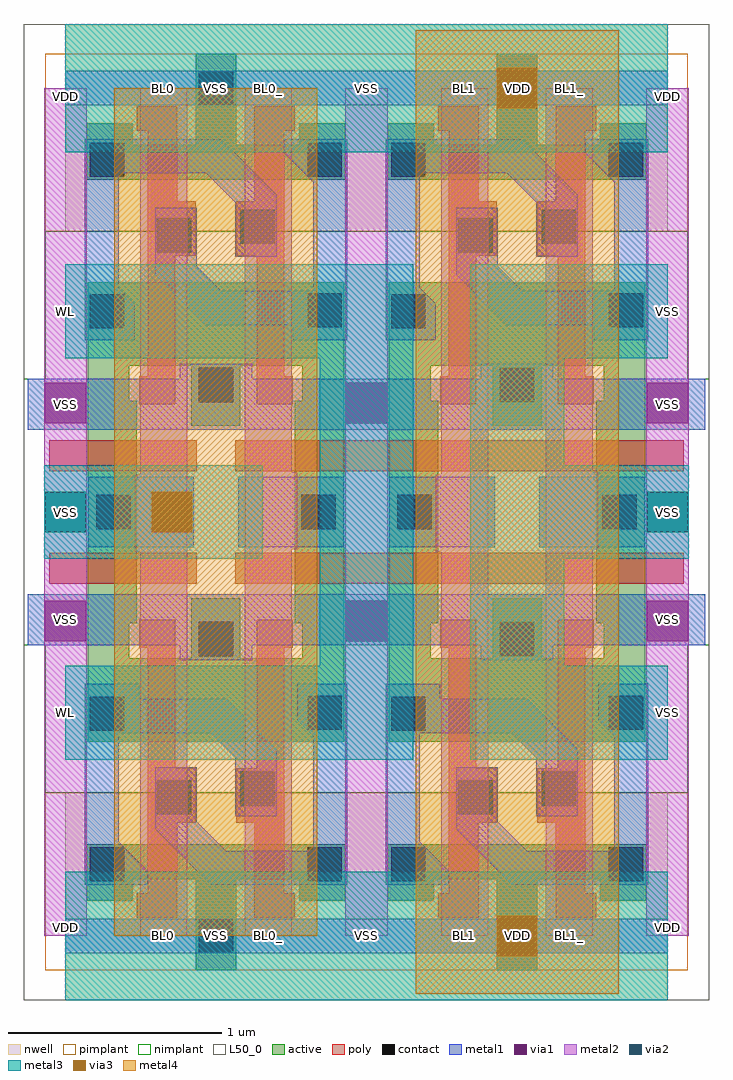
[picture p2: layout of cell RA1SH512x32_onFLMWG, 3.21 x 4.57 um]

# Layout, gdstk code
import gdstk
lib = gdstk.Library(unit=1e-6, precision=1e-09)
def R(c, l, rs):  # rectangles x0, y0, x1, y1
    for r in rs: c.add(gdstk.rectangle(r[:2], r[2:], *l))
def A(c, l, x, y, w, h, nx, ny, dx, dy):  # array of equal rectangles
    R(c, l, [(x+i*dx, y+j*dy, x+i*dx+w, y+j*dy+h) for i in range(nx) for j in range(ny)])
def P(c, l, *ps):  # polygons
    for p in ps: c.add(gdstk.Polygon(p, *l))
nwell = (3, 0)
active = (6, 0)
poly = (17, 0)
pimplant = (25, 0)
nimplant = (26, 0)
contact = (30, 0)
metal1 = (31, 0)
metal2 = (32, 0)
metal3 = (33, 0)
metal4 = (34, 0)
L50_0 = (50, 0)
via1 = (51, 0)
via2 = (52, 0)
via3 = (53, 0)

ra1sh512x32_onflmwg = lib.new_cell('RA1SH512x32_onFLMWG')
R(ra1sh512x32_onflmwg, nwell, [(0,-0.3,2.82,0.67), (0,3.3,2.82,4.27)])
P(ra1sh512x32_onflmwg, active, [(2.02,4.13),(2.02,3.705),(1.725,3.705),(1.725,3.805),(1.51,3.805),(1.51,3.54),(2.72,3.54),(2.72,3.805),(2.505,3.805),(2.505,3.705),(2.21,3.705),(2.21,4.13)],
  [(0.61,4.13),(0.61,3.705),(0.315,3.705),(0.315,3.805),(0.1,3.805),(0.1,3.54),(1.31,3.54),(1.31,3.805),(1.095,3.805),(1.095,3.705),(0.8,3.705),(0.8,4.13)],
  [(1.515,3.06),(1.515,1.985),(1.745,1.985),(1.745,2.505),(1.71,2.505),(1.71,2.67),(2,2.67),(2,2.39),(2.23,2.39),(2.23,2.67),(2.52,2.67),(2.52,2.505),(2.485,2.505),(2.485,1.985),(2.715,1.985),(2.715,3.06)],
  [(2.485,1.985),(2.485,1.465),(2.52,1.465),(2.52,1.3),(2.23,1.3),(2.23,1.58),(2,1.58),(2,1.3),(1.71,1.3),(1.71,1.465),(1.745,1.465),(1.745,1.985),(1.515,1.985),(1.515,0.91),(2.715,0.91),(2.715,1.985)],
  [(0.105,3.06),(0.105,1.985),(0.335,1.985),(0.335,2.505),(0.3,2.505),(0.3,2.67),(0.59,2.67),(0.59,2.39),(0.82,2.39),(0.82,2.67),(1.11,2.67),(1.11,2.505),(1.075,2.505),(1.075,1.985),(1.305,1.985),(1.305,3.06)],
  [(1.075,1.985),(1.075,1.465),(1.11,1.465),(1.11,1.3),(0.82,1.3),(0.82,1.58),(0.59,1.58),(0.59,1.3),(0.3,1.3),(0.3,1.465),(0.335,1.465),(0.335,1.985),(0.105,1.985),(0.105,0.91),(1.305,0.91),(1.305,1.985)],
  [(1.51,0.43),(1.51,0.165),(1.725,0.165),(1.725,0.265),(2.02,0.265),(2.02,-0.16),(2.21,-0.16),(2.21,0.265),(2.505,0.265),(2.505,0.165),(2.72,0.165),(2.72,0.43)],
  [(0.1,0.43),(0.1,0.165),(0.315,0.165),(0.315,0.265),(0.61,0.265),(0.61,-0.16),(0.8,-0.16),(0.8,0.265),(1.095,0.265),(1.095,0.165),(1.31,0.165),(1.31,0.43)])
R(ra1sh512x32_onflmwg, poly, [(-0.075,1.65,0.615,1.795), (0.795,1.65,2.895,1.795), (-0.075,2.175,0.615,2.32), (0.795,2.175,2.895,2.32)])
P(ra1sh512x32_onflmwg, poly, [(2.295,3.885),(2.295,3.44),(2.21,3.44),(2.21,3.185),(2.305,3.185),(2.305,2.49),(2.475,2.49),(2.475,2.62),(2.435,2.62),(2.435,3.77),(2.485,3.77),(2.485,3.885)],
  [(1.745,3.885),(1.745,3.77),(1.795,3.77),(1.795,2.62),(1.755,2.62),(1.755,2.49),(1.925,2.49),(1.925,3.185),(2.02,3.185),(2.02,3.44),(1.935,3.44),(1.935,3.885)],
  [(0.885,3.885),(0.885,3.44),(0.8,3.44),(0.8,3.185),(0.895,3.185),(0.895,2.49),(1.065,2.49),(1.065,2.62),(1.025,2.62),(1.025,3.77),(1.075,3.77),(1.075,3.885)],
  [(0.335,3.885),(0.335,3.77),(0.385,3.77),(0.385,2.62),(0.345,2.62),(0.345,2.49),(0.515,2.49),(0.515,3.185),(0.61,3.185),(0.61,3.44),(0.525,3.44),(0.525,3.885)],
  [(2.305,1.48),(2.305,0.785),(2.21,0.785),(2.21,0.53),(2.295,0.53),(2.295,0.085),(2.485,0.085),(2.485,0.2),(2.435,0.2),(2.435,1.35),(2.475,1.35),(2.475,1.48)],
  [(1.755,1.48),(1.755,1.35),(1.795,1.35),(1.795,0.2),(1.745,0.2),(1.745,0.085),(1.935,0.085),(1.935,0.53),(2.02,0.53),(2.02,0.785),(1.925,0.785),(1.925,1.48)],
  [(0.895,1.48),(0.895,0.785),(0.8,0.785),(0.8,0.53),(0.885,0.53),(0.885,0.085),(1.075,0.085),(1.075,0.2),(1.025,0.2),(1.025,1.35),(1.065,1.35),(1.065,1.48)],
  [(0.345,1.48),(0.345,1.35),(0.385,1.35),(0.385,0.2),(0.335,0.2),(0.335,0.085),(0.525,0.085),(0.525,0.53),(0.61,0.53),(0.61,0.785),(0.515,0.785),(0.515,1.48)])
R(ra1sh512x32_onflmwg, pimplant, [(-0.095,-0.16,2.915,0.67), (-0.095,3.3,2.915,4.13)])
P(ra1sh512x32_onflmwg, nimplant, [(-0.095,3.3),(-0.095,2.61),(-0.195,2.61),(-0.195,1.36),(-0.095,1.36),(-0.095,0.67),(2.915,0.67),(2.915,1.36),(3.015,1.36),(3.015,2.61),(2.915,2.61),(2.915,3.3)])
R(ra1sh512x32_onflmwg, contact, [(0.625,-0.08,0.785,0.08), (2.035,-0.08,2.195,0.08), (0.115,0.255,0.275,0.415), (1.135,0.255,1.295,0.415), (1.525,0.255,1.685,0.415), (2.545,0.255,2.705,0.415), (0.43,0.57,0.59,0.73), (1.84,0.57,2,0.73), (0.82,0.61,0.98,0.77), (2.23,0.61,2.39,0.77), (0.115,0.96,0.275,1.12), (1.525,0.96,1.685,1.12), (1.135,0.965,1.295,1.125), (2.545,0.965,2.705,1.125), (0.625,1.31,0.785,1.47), (2.035,1.31,2.195,1.47), (0.145,1.905,0.305,2.065), (1.105,1.905,1.265,2.065), (1.555,1.905,1.715,2.065), (2.515,1.905,2.675,2.065), (0.625,2.5,0.785,2.66), (2.035,2.5,2.195,2.66), (0.115,2.845,0.275,3.005), (1.525,2.845,1.685,3.005), (1.135,2.85,1.295,3.01), (2.545,2.85,2.705,3.01), (0.43,3.2,0.59,3.36), (1.84,3.2,2,3.36), (0.82,3.24,0.98,3.4), (2.23,3.24,2.39,3.4), (0.115,3.555,0.275,3.715), (1.135,3.555,1.295,3.715), (1.525,3.555,1.685,3.715), (2.545,3.555,2.705,3.715), (0.625,3.89,0.785,4.05), (2.035,3.89,2.195,4.05)])
A(ra1sh512x32_onflmwg, metal1, 0.105, 1.82, 0.495, 0.33, 4, 1, 0.705, 0)
R(ra1sh512x32_onflmwg, metal1, [(0,-0.08,2.82,0.08), (0,3.89,2.82,4.05)])
P(ra1sh512x32_onflmwg, metal1, [(2.435,3.73),(2.435,3.665),(2.57,3.53),(2.57,3.02),(2.14,3.02),(2.025,3.135),(2.025,3.41),(1.83,3.41),(1.83,3.095),(2.065,2.86),(2.475,2.86),(2.475,2.79),(2.73,2.79),(2.73,3.73)],
  [(1.5,3.73),(1.5,2.79),(1.735,2.79),(1.735,2.96),(1.66,3.035),(1.66,3.57),(2.07,3.57),(2.205,3.435),(2.205,3.18),(2.4,3.18),(2.4,3.47),(2.14,3.73)],
  [(1.025,3.73),(1.025,3.665),(1.16,3.53),(1.16,3.02),(0.73,3.02),(0.615,3.135),(0.615,3.41),(0.42,3.41),(0.42,3.095),(0.655,2.86),(1.065,2.86),(1.065,2.79),(1.32,2.79),(1.32,3.73)],
  [(0.09,3.73),(0.09,2.79),(0.325,2.79),(0.325,2.96),(0.25,3.035),(0.25,3.57),(0.66,3.57),(0.795,3.435),(0.795,3.18),(0.99,3.18),(0.99,3.47),(0.73,3.73)],
  [(1.945,2.68),(1.945,2.61),(0.875,2.61),(0.875,2.68),(0.535,2.68),(0.535,2.61),(-0.175,2.61),(-0.175,2.37),(2.995,2.37),(2.995,2.61),(2.285,2.61),(2.285,2.68)],
  [(-0.175,1.6),(-0.175,1.36),(0.535,1.36),(0.535,1.29),(0.875,1.29),(0.875,1.36),(1.945,1.36),(1.945,1.29),(2.285,1.29),(2.285,1.36),(2.995,1.36),(2.995,1.6)],
  [(2.495,1.18),(2.495,1.01),(2.57,0.935),(2.57,0.4),(2.16,0.4),(2.025,0.535),(2.025,0.79),(1.83,0.79),(1.83,0.5),(2.09,0.24),(2.73,0.24),(2.73,1.18)],
  [(1.5,1.18),(1.5,0.24),(1.795,0.24),(1.795,0.305),(1.66,0.44),(1.66,0.95),(2.09,0.95),(2.205,0.835),(2.205,0.56),(2.4,0.56),(2.4,0.875),(2.165,1.11),(1.755,1.11),(1.755,1.18)],
  [(1.085,1.18),(1.085,1.01),(1.16,0.935),(1.16,0.4),(0.75,0.4),(0.615,0.535),(0.615,0.79),(0.42,0.79),(0.42,0.5),(0.68,0.24),(1.32,0.24),(1.32,1.18)],
  [(0.09,1.18),(0.09,0.24),(0.385,0.24),(0.385,0.305),(0.25,0.44),(0.25,0.95),(0.68,0.95),(0.795,0.835),(0.795,0.56),(0.99,0.56),(0.99,0.875),(0.755,1.11),(0.345,1.11),(0.345,1.18)])
A(ra1sh512x32_onflmwg, metal2, -0.1, 0, 0.2, 3.97, 3, 1, 1.41, 0)
P(ra1sh512x32_onflmwg, metal2, [(2.25,3.97),(2.25,0),(2.47,0),(2.47,1.81),(2.495,1.81),(2.495,2.17),(2.47,2.17),(2.47,3.97)],
  [(1.76,3.97),(1.76,2.16),(1.735,2.16),(1.735,1.8),(1.76,1.8),(1.76,0),(1.98,0),(1.98,3.97)],
  [(0.84,3.97),(0.84,0),(1.06,0),(1.06,1.81),(1.085,1.81),(1.085,2.17),(1.06,2.17),(1.06,3.97)],
  [(0.35,3.97),(0.35,2.16),(0.325,2.16),(0.325,1.8),(0.35,1.8),(0.35,0),(0.57,0),(0.57,3.97)])
R(ra1sh512x32_onflmwg, metal3, [(0,-0.3,2.82,0.3), (-0.1,1.765,0.925,2.205), (0,3.67,2.82,4.27)])
P(ra1sh512x32_onflmwg, metal3, [(1.895,3.145),(1.895,0.825),(2.82,0.825),(2.82,1.265),(2.335,1.265),(2.335,1.765),(2.92,1.765),(2.92,2.205),(2.335,2.205),(2.335,2.705),(2.82,2.705),(2.82,3.145)],
  [(0,3.145),(0,2.705),(1.19,2.705),(1.19,1.265),(0,1.265),(0,0.825),(1.63,0.825),(1.63,3.145)])
R(ra1sh512x32_onflmwg, metal4, [(1.64,-0.27,2.59,4.24), (0.23,0,1.18,3.97)])
R(ra1sh512x32_onflmwg, L50_0, [(-0.195,-0.3,3.015,4.27)])
A(ra1sh512x32_onflmwg, via1, -0.095, 1.38, 0.19, 0.19, 3, 2, 1.41, 1.02)
R(ra1sh512x32_onflmwg, via2, [(-0.095,1.89,0.095,2.08), (2.725,1.89,2.915,2.08)])
R(ra1sh512x32_onflmwg, via3, [(2.02,-0.095,2.21,0.095), (0.405,1.89,0.595,2.08), (2.02,3.875,2.21,4.065)])
ra1sh512x32_onflmwg.add(gdstk.Label('WL', (0,2.925), layer=133, texttype=0))
ra1sh512x32_onflmwg.add(gdstk.Label('WL', (0,1.045), layer=133, texttype=0))
ra1sh512x32_onflmwg.add(gdstk.Label('VSS', (0,1.985), layer=133, texttype=0))
ra1sh512x32_onflmwg.add(gdstk.Label('VSS', (0,1.985), layer=132, texttype=0))
ra1sh512x32_onflmwg.add(gdstk.Label('VSS', (0,1.48), layer=131, texttype=0))
ra1sh512x32_onflmwg.add(gdstk.Label('VSS', (0,2.49), layer=131, texttype=0))
ra1sh512x32_onflmwg.add(gdstk.Label('VDD', (0,3.93), layer=131, texttype=0))
ra1sh512x32_onflmwg.add(gdstk.Label('VDD', (0,0.04), layer=131, texttype=0))
ra1sh512x32_onflmwg.add(gdstk.Label('VSS', (2.82,2.925), layer=133, texttype=0))
ra1sh512x32_onflmwg.add(gdstk.Label('VSS', (2.82,1.985), layer=133, texttype=0))
ra1sh512x32_onflmwg.add(gdstk.Label('VSS', (2.82,1.045), layer=133, texttype=0))
ra1sh512x32_onflmwg.add(gdstk.Label('VSS', (2.82,1.985), layer=132, texttype=0))
ra1sh512x32_onflmwg.add(gdstk.Label('VSS', (2.82,1.48), layer=131, texttype=0))
ra1sh512x32_onflmwg.add(gdstk.Label('VSS', (2.82,2.49), layer=131, texttype=0))
ra1sh512x32_onflmwg.add(gdstk.Label('VDD', (2.82,3.93), layer=131, texttype=0))
ra1sh512x32_onflmwg.add(gdstk.Label('VDD', (2.82,0.04), layer=131, texttype=0))
ra1sh512x32_onflmwg.add(gdstk.Label('BL1_', (2.36,0), layer=132, texttype=0))
ra1sh512x32_onflmwg.add(gdstk.Label('BL1', (1.87,0), layer=132, texttype=0))
ra1sh512x32_onflmwg.add(gdstk.Label('BL0_', (0.95,0), layer=132, texttype=0))
ra1sh512x32_onflmwg.add(gdstk.Label('BL0', (0.46,0), layer=132, texttype=0))
ra1sh512x32_onflmwg.add(gdstk.Label('VSS', (0.705,0), layer=134, texttype=0))
ra1sh512x32_onflmwg.add(gdstk.Label('VSS', (2.77,0), layer=132, texttype=0))
ra1sh512x32_onflmwg.add(gdstk.Label('VSS', (0.05,0), layer=132, texttype=0))
ra1sh512x32_onflmwg.add(gdstk.Label('VSS', (1.41,0), layer=132, texttype=0))
ra1sh512x32_onflmwg.add(gdstk.Label('VDD', (2.115,0), layer=134, texttype=0))
ra1sh512x32_onflmwg.add(gdstk.Label('VDD', (1.41,0), layer=131, texttype=0))
ra1sh512x32_onflmwg.add(gdstk.Label('BL1_', (2.36,3.97), layer=132, texttype=0))
ra1sh512x32_onflmwg.add(gdstk.Label('BL1', (1.87,3.97), layer=132, texttype=0))
ra1sh512x32_onflmwg.add(gdstk.Label('BL0_', (0.95,3.97), layer=132, texttype=0))
ra1sh512x32_onflmwg.add(gdstk.Label('BL0', (0.46,3.97), layer=132, texttype=0))
ra1sh512x32_onflmwg.add(gdstk.Label('VSS', (0.705,3.97), layer=134, texttype=0))
ra1sh512x32_onflmwg.add(gdstk.Label('VSS', (2.77,3.97), layer=132, texttype=0))
ra1sh512x32_onflmwg.add(gdstk.Label('VSS', (0.05,3.97), layer=132, texttype=0))
ra1sh512x32_onflmwg.add(gdstk.Label('VSS', (1.41,3.97), layer=132, texttype=0))
ra1sh512x32_onflmwg.add(gdstk.Label('VDD', (2.115,3.97), layer=134, texttype=0))
ra1sh512x32_onflmwg.add(gdstk.Label('VDD', (1.41,3.97), layer=131, texttype=0))

lib.write_gds('RA1SH512x32_onFLMWG.gds')
